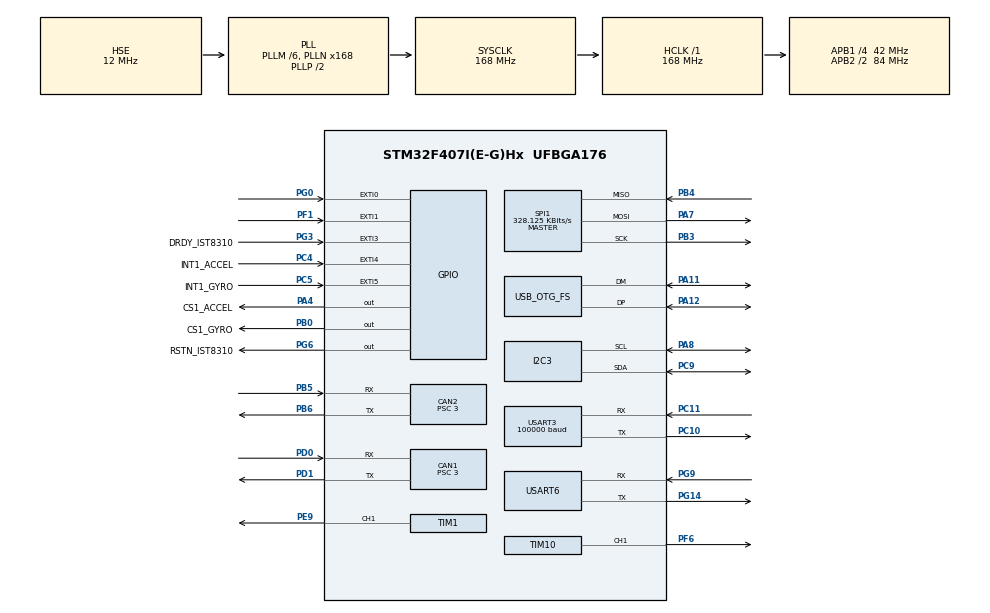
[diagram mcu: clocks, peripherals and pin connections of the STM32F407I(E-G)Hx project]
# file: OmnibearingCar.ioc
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CAN1.BS1=CAN_BS1_10TQ
CAN1.BS2=CAN_BS2_3TQ
CAN1.CalculateBaudRate=1000000
CAN1.CalculateTimeBit=1000
CAN1.CalculateTimeQuantum=71.42857142857143
CAN1.Prescaler=3
CAN2.BS1=CAN_BS1_10TQ
CAN2.BS2=CAN_BS2_3TQ
CAN2.CalculateBaudRate=1000000
CAN2.CalculateTimeBit=1000
CAN2.CalculateTimeQuantum=71.42857142857143
CAN2.Prescaler=3
Dma.Request0=USART3_RX
Dma.Request1=SPI1_RX
Dma.Request2=SPI1_TX
Dma.Request3=USART6_RX
Dma.Request4=USART6_TX
Dma.SPI1_RX.1.Direction=DMA_PERIPH_TO_MEMORY
Dma.SPI1_RX.1.FIFOMode=DMA_FIFOMODE_DISABLE
Dma.SPI1_RX.1.Instance=DMA2_Stream2
Dma.SPI1_RX.1.MemDataAlignment=DMA_MDATAALIGN_BYTE
Dma.SPI1_RX.1.MemInc=DMA_MINC_ENABLE
Dma.SPI1_RX.1.Mode=DMA_NORMAL
Dma.SPI1_RX.1.PeriphDataAlignment=DMA_PDATAALIGN_BYTE
Dma.SPI1_RX.1.PeriphInc=DMA_PINC_DISABLE
Dma.SPI1_RX.1.Priority=DMA_PRIORITY_LOW
Dma.SPI1_TX.2.Direction=DMA_MEMORY_TO_PERIPH
Dma.SPI1_TX.2.FIFOMode=DMA_FIFOMODE_DISABLE
Dma.SPI1_TX.2.Instance=DMA2_Stream3
Dma.SPI1_TX.2.MemDataAlignment=DMA_MDATAALIGN_BYTE
Dma.SPI1_TX.2.MemInc=DMA_MINC_ENABLE
Dma.SPI1_TX.2.Mode=DMA_NORMAL
Dma.SPI1_TX.2.PeriphDataAlignment=DMA_PDATAALIGN_BYTE
Dma.SPI1_TX.2.PeriphInc=DMA_PINC_DISABLE
Dma.SPI1_TX.2.Priority=DMA_PRIORITY_LOW
Dma.USART3_RX.0.Direction=DMA_PERIPH_TO_MEMORY
Dma.USART3_RX.0.FIFOMode=DMA_FIFOMODE_DISABLE
Dma.USART3_RX.0.Instance=DMA1_Stream1
Dma.USART3_RX.0.MemDataAlignment=DMA_MDATAALIGN_BYTE
Dma.USART3_RX.0.MemInc=DMA_MINC_ENABLE
Dma.USART3_RX.0.Mode=DMA_CIRCULAR
Dma.USART3_RX.0.PeriphDataAlignment=DMA_PDATAALIGN_BYTE
Dma.USART3_RX.0.PeriphInc=DMA_PINC_DISABLE
Dma.USART3_RX.0.Priority=DMA_PRIORITY_VERY_HIGH
Dma.USART6_RX.3.Direction=DMA_PERIPH_TO_MEMORY
Dma.USART6_RX.3.FIFOMode=DMA_FIFOMODE_DISABLE
Dma.USART6_RX.3.Instance=DMA2_Stream1
Dma.USART6_RX.3.MemDataAlignment=DMA_MDATAALIGN_BYTE
Dma.USART6_RX.3.MemInc=DMA_MINC_ENABLE
Dma.USART6_RX.3.Mode=DMA_CIRCULAR
Dma.USART6_RX.3.PeriphDataAlignment=DMA_PDATAALIGN_BYTE
Dma.USART6_RX.3.PeriphInc=DMA_PINC_DISABLE
Dma.USART6_RX.3.Priority=DMA_PRIORITY_LOW
Dma.USART6_TX.4.Direction=DMA_MEMORY_TO_PERIPH
Dma.USART6_TX.4.FIFOMode=DMA_FIFOMODE_DISABLE
Dma.USART6_TX.4.Instance=DMA2_Stream6
Dma.USART6_TX.4.MemDataAlignment=DMA_MDATAALIGN_BYTE
Dma.USART6_TX.4.MemInc=DMA_MINC_ENABLE
Dma.USART6_TX.4.Mode=DMA_CIRCULAR
Dma.USART6_TX.4.PeriphDataAlignment=DMA_PDATAALIGN_BYTE
Dma.USART6_TX.4.PeriphInc=DMA_PINC_DISABLE
Dma.USART6_TX.4.Priority=DMA_PRIORITY_LOW
FREERTOS.INCLUDE_eTaskGetState=1
FREERTOS.INCLUDE_pcTaskGetTaskName=1
FREERTOS.INCLUDE_uxTaskGetStackHighWaterMark=1
FREERTOS.INCLUDE_uxTaskGetStackHighWaterMark2=1
FREERTOS.INCLUDE_vTaskCleanUpResources=1
FREERTOS.INCLUDE_vTaskDelayUntil=1
FREERTOS.INCLUDE_xQueueGetMutexHolder=1
FREERTOS.INCLUDE_xSemaphoreGetMutexHolder=1
FREERTOS.INCLUDE_xTaskAbortDelay=1
FREERTOS.INCLUDE_xTaskGetCurrentTaskHandle=1
FREERTOS.INCLUDE_xTaskGetHandle=1
FREERTOS.Tasks01=Chassis,1,256,ChassisTask,As weak,NULL,Dynamic,NULL,NULL;Gimbal,1,256,GimbalTask,As weak,NULL,Dynamic,NULL,NULL;Shoot,1,256,ShootTask,As weak,NULL,Dynamic,NULL,NULL;IMU_TASK,1,256,INS_Task,As weak,NULL,Dynamic,NULL,NULL
I2C3.I2C_Mode=I2C_Fast
Mcu.Family=STM32F4
Mcu.Name=STM32F407I(E-G)Hx
Mcu.Package=UFBGA176
NVIC.CAN1_RX0_IRQn=true\:5\:0\:false\:false\:true\:true\:true\:true\:true
NVIC.CAN2_RX0_IRQn=true\:5\:0\:false\:false\:true\:true\:true\:true\:true
NVIC.DMA1_Stream1_IRQn=true\:5\:0\:true\:false\:true\:true\:false\:true\:true
NVIC.DMA2_Stream1_IRQn=true\:5\:0\:false\:false\:true\:true\:false\:true\:true
NVIC.DMA2_Stream2_IRQn=true\:5\:0\:false\:false\:true\:true\:false\:true\:true
NVIC.DMA2_Stream3_IRQn=true\:5\:0\:false\:false\:true\:true\:false\:true\:true
NVIC.DMA2_Stream6_IRQn=true\:5\:0\:false\:false\:true\:true\:false\:true\:true
NVIC.EXTI0_IRQn=true\:5\:0\:true\:false\:true\:true\:true\:true\:true
NVIC.EXTI1_IRQn=true\:5\:0\:false\:false\:true\:true\:true\:true\:true
NVIC.EXTI3_IRQn=true\:5\:0\:false\:false\:true\:true\:true\:true\:true
NVIC.EXTI4_IRQn=true\:5\:0\:false\:false\:true\:true\:true\:true\:true
NVIC.EXTI9_5_IRQn=true\:5\:0\:false\:false\:true\:true\:true\:true\:true
NVIC.OTG_FS_IRQn=true\:5\:0\:false\:false\:true\:true\:false\:true\:true
NVIC.PriorityGroup=NVIC_PRIORITYGROUP_4
NVIC.TIM2_IRQn=true\:15\:0\:false\:false\:true\:false\:false\:true\:true
NVIC.TimeBase=TIM2_IRQn
NVIC.TimeBaseIP=TIM2
NVIC.USART6_IRQn=true\:5\:0\:false\:false\:true\:true\:true\:true\:true
PA11.Mode=Device_Only
PA11.Signal=USB_OTG_FS_DM
PA12.Mode=Device_Only
PA12.Signal=USB_OTG_FS_DP
PA13.Mode=Serial_Wire
PA13.Signal=SYS_JTMS-SWDIO
PA14.Mode=Serial_Wire
PA14.Signal=SYS_JTCK-SWCLK
PA4.GPIO_Label=CS1_ACCEL
PA4.GPIO_PuPd=GPIO_PULLUP
PA4.GPIO_Speed=GPIO_SPEED_FREQ_HIGH
PA4.PinState=GPIO_PIN_SET
PA4.Signal=GPIO_Output
PA7.Mode=Full_Duplex_Master
PA7.Signal=SPI1_MOSI
PA8.Mode=I2C
PA8.Signal=I2C3_SCL
PB0.GPIO_Label=CS1_GYRO
PB0.GPIO_ModeDefaultOutputPP=GPIO_MODE_OUTPUT_PP
PB0.GPIO_PuPd=GPIO_PULLUP
PB0.GPIO_Speed=GPIO_SPEED_FREQ_HIGH
PB0.PinState=GPIO_PIN_SET
PB0.Signal=GPIO_Output
PB3.Mode=Full_Duplex_Master
PB3.Signal=SPI1_SCK
PB4.Mode=Full_Duplex_Master
PB4.Signal=SPI1_MISO
PB5.Mode=CAN_Activate
PB5.Signal=CAN2_RX
PB6.Mode=CAN_Activate
PB6.Signal=CAN2_TX
PC10.Mode=Asynchronous
PC10.Signal=USART3_TX
PC11.Mode=Asynchronous
PC11.Signal=USART3_RX
PC14-OSC32_IN.Mode=LSE-External-Oscillator
PC14-OSC32_IN.Signal=RCC_OSC32_IN
PC15-OSC32_OUT.Mode=LSE-External-Oscillator
PC15-OSC32_OUT.Signal=RCC_OSC32_OUT
PC4.GPIO_Label=INT1_ACCEL
PC4.GPIO_PuPd=GPIO_PULLUP
PC4.Signal=GPXTI4
PC5.GPIO_Label=INT1_GYRO
PC5.GPIO_PuPd=GPIO_PULLUP
PC5.Signal=GPXTI5
PC9.Mode=I2C
PC9.Signal=I2C3_SDA
PD0.Mode=CAN_Activate
PD0.Signal=CAN1_RX
PD1.Mode=CAN_Activate
PD1.Signal=CAN1_TX
PE9.Signal=S_TIM1_CH1
PF1.Signal=GPXTI1
PF6.GPIO_PuPd=GPIO_PULLUP
PF6.GPIO_Speed=GPIO_SPEED_FREQ_HIGH
PF6.Signal=S_TIM10_CH1
PG0.GPIO_PuPd=GPIO_PULLUP
PG0.Signal=GPXTI0
PG14.Mode=Asynchronous
PG14.Signal=USART6_TX
PG3.GPIO_Label=DRDY_IST8310
PG3.GPIO_PuPd=GPIO_PULLUP
PG3.Signal=GPXTI3
PG6.GPIO_Label=RSTN_IST8310
PG6.GPIO_ModeDefaultOutputPP=GPIO_MODE_OUTPUT_PP
PG6.GPIO_PuPd=GPIO_PULLUP
PG6.GPIO_Speed=GPIO_SPEED_FREQ_MEDIUM
PG6.PinState=GPIO_PIN_SET
PG6.Signal=GPIO_Output
PG9.Mode=Asynchronous
PG9.Signal=USART6_RX
PH0-OSC_IN.Mode=HSE-External-Oscillator
PH0-OSC_IN.Signal=RCC_OSC_IN
PH1-OSC_OUT.Mode=HSE-External-Oscillator
PH1-OSC_OUT.Signal=RCC_OSC_OUT
ProjectManager.HeapSize=0x200
ProjectManager.StackSize=0x400
ProjectManager.TargetToolchain=MDK-ARM V5.32
RCC.48MHZClocksFreq_Value=48000000
RCC.AHBFreq_Value=168000000
RCC.APB1CLKDivider=RCC_HCLK_DIV4
RCC.APB1Freq_Value=42000000
RCC.APB1TimFreq_Value=84000000
RCC.APB2CLKDivider=RCC_HCLK_DIV2
RCC.APB2Freq_Value=84000000
RCC.APB2TimFreq_Value=168000000
RCC.CortexFreq_Value=168000000
RCC.HCLKFreq_Value=168000000
RCC.HSE_VALUE=12000000
RCC.HSI_VALUE=16000000
RCC.PLLM=6
RCC.PLLN=168
RCC.PLLQ=7
RCC.SYSCLKFreq_VALUE=168000000
RCC.SYSCLKSource=RCC_SYSCLKSOURCE_PLLCLK
RCC.VCOOutputFreq_Value=336000000
SH.S_TIM10_CH1.0=TIM10_CH1,PWM Generation1 CH1
SH.S_TIM1_CH1.0=TIM1_CH1,PWM Generation1 CH1
SPI1.BaudRatePrescaler=SPI_BAUDRATEPRESCALER_256
SPI1.CLKPhase=SPI_PHASE_2EDGE
SPI1.CLKPolarity=SPI_POLARITY_HIGH
SPI1.CalculateBaudRate=328.125 KBits/s
SPI1.Direction=SPI_DIRECTION_2LINES
SPI1.Mode=SPI_MODE_MASTER
SPI1.VirtualType=VM_MASTER
TIM1.Channel-PWM\ Generation1\ CH1=TIM_CHANNEL_1
TIM1.Period=20000-1
TIM1.Prescaler=168-1
TIM1.Pulse-PWM\ Generation1\ CH1=2000
TIM10.Channel=TIM_CHANNEL_1
TIM10.OC1Preload_PWM=ENABLE
TIM10.Period=5000-1
USART3.BaudRate=100000
USART3.Parity=PARITY_EVEN
USART3.VirtualMode=VM_ASYNC
USART6.VirtualMode=VM_ASYNC
USB_DEVICE.CLASS_NAME_FS=CDC
USB_DEVICE.VirtualMode-CDC_FS=Cdc
USB_DEVICE.VirtualModeFS=Cdc_FS
USB_OTG_FS.VirtualMode=Device_Only
VP_FREERTOS_VS_CMSIS_V1.Mode=CMSIS_V1
VP_SYS_VS_tim2.Mode=TIM2
VP_TIM10_VS_ClockSourceINT.Mode=Enable_Timer
VP_TIM1_VS_ClockSourceINT.Mode=Internal
VP_USB_DEVICE_VS_USB_DEVICE_CDC_FS.Mode=CDC_FS
board=custom

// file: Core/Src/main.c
/* USER CODE BEGIN Header */
/**
  ******************************************************************************
  * @file           : main.c
  * @brief          : Main program body
  ******************************************************************************
  * @attention
  *
  * Copyright (c) 2024 STMicroelectronics.
  * All rights reserved.
  *
  * This software is licensed under terms that can be found in the LICENSE file
  * in the root directory of this software component.
  * If no LICENSE file comes with this software, it is provided AS-IS.
  *
  ******************************************************************************
  */
/* USER CODE END Header */
#include "main.h"
#include "cmsis_os.h"
#include "can.h"
#include "dma.h"
#include "i2c.h"
#include "spi.h"
#include "tim.h"
#include "usart.h"
#include "usb_device.h"
#include "gpio.h"

/* USER CODE BEGIN Includes */
#include "BSP_CAN.h"
#include "BSP_UART.h"
#include "Car_Mode.h"
#include "GM6020.h"
#include "M3508.h"
#include "Remote.h"
#include "Chassis.h"
#include "Gimbal.h"
#include "M2006.h"
#include "IMU_Task.h"
#include "judge.h"
/* USER CODE END Includes */

/* USER CODE BEGIN PTD */
/******************************陀螺仪解算相关系数*******************************/
float INS_angle[3] = {0.0f, 0.0f, 0.0f};
float IMU_angle[3] = {0.0f, 0.0f, 0.0f};
/******************************整车电机相关系数*******************************/
Moto_M3508_t M3508_Chassis[4],M3508_Shoot[2];
Moto_GM6020_t GM6020_Yaw,GM6020_Pitch;
Moto_M2006_t M2006_Rammer;
/******************************遥控器相关系数*******************************/
RC_t RC;
uint8_t RC_Data[18];
/******************************其他相关系数*******************************/
float Set_Yaw,Set_Pitch;
Car_Mode_t Car_Mode;
/******************************底盘解算相关系数*******************************/
Chassis_Speed_t Temp1_Chassis_Speed,Temp2_Chassis_Speed;
Chassis_Speed_t Chassis_Speed;
Gimbal_Add_t Gimbal_Add;
PID_struct_t Follow_PID;
/******************************小电脑通信相关系数*******************************/
Computer_Rx_Message_t Computer_Rx_Message;
Computer_Tx_Message_t Computer_Tx_Message;
uint8_t judge_rx_buff[JUDGE_MAX_LENGTH];
/*******************************裁判系统相关系数******************************/
float Chassis_Power_Limit,Chassis_Power_Now,Chassis_Power_Buffer;
/* USER CODE END PTD */

void SystemClock_Config(void);
void MX_FREERTOS_Init(void);

int main(void)
{

  /* MCU Configuration--------------------------------------------------------*/

  /* Reset of all peripherals, Initializes the Flash interface and the Systick. */
  HAL_Init();

  /* Configure the system clock */
  SystemClock_Config();

  /* Initialize all configured peripherals */
  MX_GPIO_Init();
  MX_DMA_Init();
  MX_CAN1_Init();
  MX_USART3_UART_Init();
  MX_TIM1_Init();
  MX_CAN2_Init();
  MX_SPI1_Init();
  MX_TIM10_Init();
  MX_I2C3_Init();
  MX_USART6_UART_Init();
  /* USER CODE BEGIN 2 */
  CAN_Filter_Init();
	HAL_UART_Receive_DMA(&huart3,RC_Data,sizeof(RC_Data));
  __HAL_UART_ENABLE_IT(&huart6, UART_IT_IDLE);//使能 中断,用于裁判系统读取
	HAL_UART_Receive_DMA(&huart6,judge_rx_buff,2000);//打开DMA接收，数据存入rx_buffer_judge数组中。
	Car_Init();
	MX_USB_DEVICE_Init();
	Computer_Init();
  /* USER CODE END 2 */

  /* Call init function for freertos objects (in cmsis_os2.c) */
  MX_FREERTOS_Init();

  /* Start scheduler */
  osKernelStart();

  /* We should never get here as control is now taken by the scheduler */

  /* Infinite loop */
  while (1)
  {

  }
}

void SystemClock_Config(void)
{
  RCC_OscInitTypeDef RCC_OscInitStruct = {0};
  RCC_ClkInitTypeDef RCC_ClkInitStruct = {0};

  /** Configure the main internal regulator output voltage
  */
  __HAL_RCC_PWR_CLK_ENABLE();
  __HAL_PWR_VOLTAGESCALING_CONFIG(PWR_REGULATOR_VOLTAGE_SCALE1);

  /** Initializes the RCC Oscillators according to the specified parameters
  * in the RCC_OscInitTypeDef structure.
  */
  RCC_OscInitStruct.OscillatorType = RCC_OSCILLATORTYPE_HSE;
  RCC_OscInitStruct.HSEState = RCC_HSE_ON;
  RCC_OscInitStruct.PLL.PLLState = RCC_PLL_ON;
  RCC_OscInitStruct.PLL.PLLSource = RCC_PLLSOURCE_HSE;
  RCC_OscInitStruct.PLL.PLLM = 6;
  RCC_OscInitStruct.PLL.PLLN = 168;
  RCC_OscInitStruct.PLL.PLLP = RCC_PLLP_DIV2;
  RCC_OscInitStruct.PLL.PLLQ = 7;
  if (HAL_RCC_OscConfig(&RCC_OscInitStruct) != HAL_OK)
  {
    Error_Handler();
  }

  /** Initializes the CPU, AHB and APB buses clocks
  */
  RCC_ClkInitStruct.ClockType = RCC_CLOCKTYPE_HCLK|RCC_CLOCKTYPE_SYSCLK
                              |RCC_CLOCKTYPE_PCLK1|RCC_CLOCKTYPE_PCLK2;
  RCC_ClkInitStruct.SYSCLKSource = RCC_SYSCLKSOURCE_PLLCLK;
  RCC_ClkInitStruct.AHBCLKDivider = RCC_SYSCLK_DIV1;
  RCC_ClkInitStruct.APB1CLKDivider = RCC_HCLK_DIV4;
  RCC_ClkInitStruct.APB2CLKDivider = RCC_HCLK_DIV2;

  if (HAL_RCC_ClockConfig(&RCC_ClkInitStruct, FLASH_LATENCY_5) != HAL_OK)
  {
    Error_Handler();
  }
}

void HAL_TIM_PeriodElapsedCallback(TIM_HandleTypeDef *htim)
{
  if (htim->Instance == TIM2) {
    HAL_IncTick();
  }
}

void Error_Handler(void)
{
  __disable_irq();
  while (1)
  {
  }
}

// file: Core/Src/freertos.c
/* USER CODE BEGIN Header */
/**
  ******************************************************************************
  * File Name          : freertos.c
  * Description        : Code for freertos applications
  ******************************************************************************
  * @attention
  *
  * Copyright (c) 2024 STMicroelectronics.
  * All rights reserved.
  *
  * This software is licensed under terms that can be found in the LICENSE file
  * in the root directory of this software component.
  * If no LICENSE file comes with this software, it is provided AS-IS.
  *
  ******************************************************************************
  */
/* USER CODE END Header */

#include "FreeRTOS.h"
#include "task.h"
#include "main.h"
#include "cmsis_os.h"

osThreadId ChassisHandle;
osThreadId GimbalHandle;
osThreadId ShootHandle;
osThreadId IMU_TASKHandle;

void ChassisTask(void const * argument);
void GimbalTask(void const * argument);
void ShootTask(void const * argument);
void INS_Task(void const * argument);

extern void MX_USB_DEVICE_Init(void);
void MX_FREERTOS_Init(void); /* (MISRA C 2004 rule 8.1) */

/* GetIdleTaskMemory prototype (linked to static allocation support) */
void vApplicationGetIdleTaskMemory( StaticTask_t **ppxIdleTaskTCBBuffer, StackType_t **ppxIdleTaskStackBuffer, uint32_t *pulIdleTaskStackSize );

/* USER CODE BEGIN GET_IDLE_TASK_MEMORY */
static StaticTask_t xIdleTaskTCBBuffer;
static StackType_t xIdleStack[configMINIMAL_STACK_SIZE];

void vApplicationGetIdleTaskMemory( StaticTask_t **ppxIdleTaskTCBBuffer, StackType_t **ppxIdleTaskStackBuffer, uint32_t *pulIdleTaskStackSize )
{
  *ppxIdleTaskTCBBuffer = &xIdleTaskTCBBuffer;
  *ppxIdleTaskStackBuffer = &xIdleStack[0];
  *pulIdleTaskStackSize = configMINIMAL_STACK_SIZE;
  /* place for user code */
}
/* USER CODE END GET_IDLE_TASK_MEMORY */

void MX_FREERTOS_Init(void) {

  /* Create the thread(s) */
  /* definition and creation of Chassis */
  osThreadDef(Chassis, ChassisTask, osPriorityAboveNormal, 0, 256);
  ChassisHandle = osThreadCreate(osThread(Chassis), NULL);

  /* definition and creation of Gimbal */
  osThreadDef(Gimbal, GimbalTask, osPriorityAboveNormal, 0, 256);
  GimbalHandle = osThreadCreate(osThread(Gimbal), NULL);

  /* definition and creation of Shoot */
  osThreadDef(Shoot, ShootTask, osPriorityAboveNormal, 0, 256);
  ShootHandle = osThreadCreate(osThread(Shoot), NULL);

  /* definition and creation of IMU_TASK */
  osThreadDef(IMU_TASK, INS_Task, osPriorityAboveNormal, 0, 256);
  IMU_TASKHandle = osThreadCreate(osThread(IMU_TASK), NULL);

}

__weak void ChassisTask(void const * argument)
{
  /* init code for USB_DEVICE */
  MX_USB_DEVICE_Init();
  for(;;)
  {
    osDelay(1);
  }
}

__weak void GimbalTask(void const * argument)
{
  for(;;)
  {
    osDelay(1);
  }
}

__weak void ShootTask(void const * argument)
{
  for(;;)
  {
    osDelay(1);
  }
}

__weak void INS_Task(void const * argument)
{
  for(;;)
  {
    osDelay(1);
  }
}
